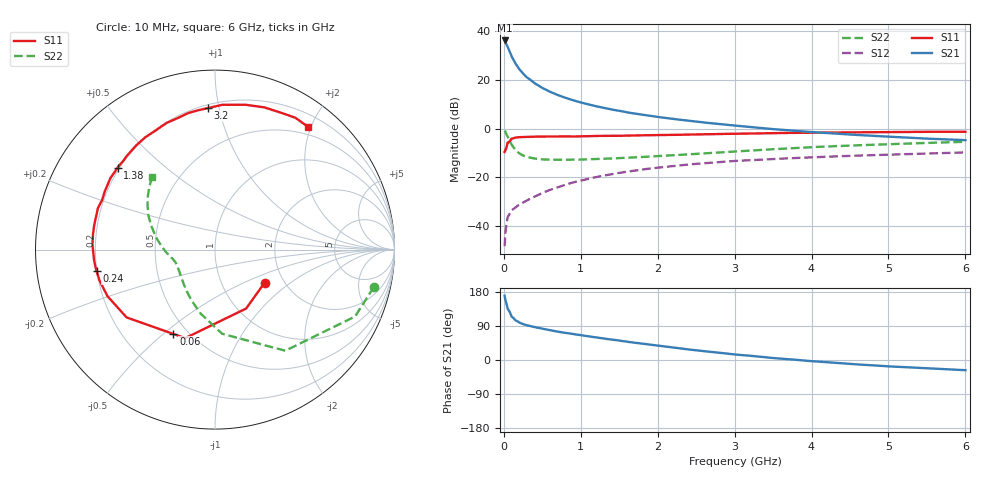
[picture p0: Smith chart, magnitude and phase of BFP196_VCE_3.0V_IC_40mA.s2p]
! Infineon Technologies  Discrete & RF Semiconductors
! BFP196
! VCE = 3.0 V,  IC =  40mA
! Common Emitter S-Parameters:  Jan 2016
# GHz  S  MA  R  50
!  f  S11  S21  S12  S22
! GHz  MAG  ANG  MAG  ANG  MAG  ANG  MAG  ANG
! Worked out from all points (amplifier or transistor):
!   210 points, 10 MHz to 6 GHz, reference 50 ohm
!   highest |S21| = 36.1 dB at 10 MHz (marker M1)
!   |S21| within 3 dB of that: start of sweep to 55.18 MHz
!   unconditionally stable (mu >= 1): 488.5 MHz to 4.304 GHz
!   at 185 MHz: K = 0.67, MSG = 28.3 dB, |S12| = -31.5 dB
!   at 1.52 GHz: K = 1.09, MAG = 10.8 dB, |S12| = -18.1 dB
!   at 6 GHz: K = 0.98, MSG = 2.5 dB, |S12| = -9.8 dB
!   S11 on the Smith chart (normalised r, x): 10 MHz: 1.60, -0.66; 60 MHz: 0.42, -0.54; 240 MHz: 0.20, -0.09; 1.38 GHz: 0.19, +0.35; 3.2 GHz: 0.22, +0.93; 6 GHz: 0.37, +1.95
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0.01  0.3322 -33.6  63.73 169.4  0.0039 80.7  0.909 -13.3
0.02  0.3713 -62.1  59.88 158.3  0.0074 71.4  0.8648 -25.5
0.05  0.5204 -108.6  47.04 135.2  0.0153 57.3  0.6863 -55.2
0.06  0.524 -116.2  43.36 132.4  0.0164 54.6  0.6323 -59.5
0.1  0.6208 -142.5  30.26 115.0  0.021 46.7  0.4704 -85.2
0.15  0.653 -156.6  21.48 104.9  0.0242 46.9  0.3655 -102.6
0.2  0.6663 -165.2  16.55 98.9  0.0276 49.0  0.3122 -114.8
0.24  0.6707 -169.8  13.94 95.6  0.0299 50.8  0.2859 -122.2
0.3  0.6766 -175.3  11.18 91.4  0.0337 53.6  0.2632 -130.7
0.4  0.6831 177.7  8.473 86.6  0.0405 56.9  0.2428 -140.8
0.5  0.6852 172.7  6.784 82.5  0.0477 59.1  0.2338 -147.6
0.6  0.6867 168.3  5.664 78.5  0.0555 60.0  0.2304 -152.1
0.7  0.6885 163.8  4.87 74.7  0.0625 60.6  0.2292 -155.6
0.84  0.6895 158.8  4.074 70.4  0.0738 60.1  0.2297 -159.4
1.02  0.6952 151.6  3.36 64.9  0.0874 59.5  0.2324 -163.0
1.38  0.7095 139.9  2.492 54.6  0.1144 56.1  0.2431 -168.4
2.02  0.7366 121.3  1.714 37.6  0.1594 47.6  0.274 -177.5
3.1  0.7853 94.8  1.114 13.0  0.2209 32.2  0.3457 165.8
3.2  0.7896 92.8  1.077 11.2  0.2251 30.8  0.3533 164.2
4.1  0.8263 76.7  0.828 -4.4  0.2612 19.7  0.4226 151.7
5.1  0.8485 63.3  0.67 -17.7  0.2957 8.6  0.4839 140.3
6  0.8585 53.0  0.579 -26.9  0.3247 -1.5  0.5356 130.6
